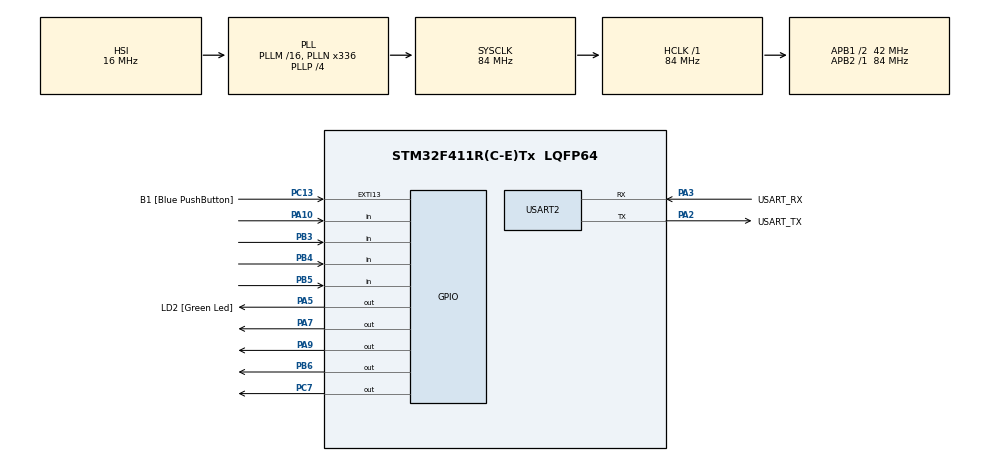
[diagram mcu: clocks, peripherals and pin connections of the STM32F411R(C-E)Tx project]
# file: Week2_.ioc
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Mcu.Family=STM32F4
Mcu.Name=STM32F411R(C-E)Tx
Mcu.Package=LQFP64
NVIC.PriorityGroup=NVIC_PRIORITYGROUP_0
PA10.GPIO_PuPd=GPIO_PULLUP
PA10.Signal=GPIO_Input
PA13.GPIO_Label=TMS
PA13.Mode=Serial_Wire
PA13.Signal=SYS_JTMS-SWDIO
PA14.GPIO_Label=TCK
PA14.Mode=Serial_Wire
PA14.Signal=SYS_JTCK-SWCLK
PA2.GPIO_Label=USART_TX
PA2.Mode=Asynchronous
PA2.Signal=USART2_TX
PA3.GPIO_Label=USART_RX
PA3.Mode=Asynchronous
PA3.Signal=USART2_RX
PA5.GPIO_Label=LD2 [Green Led]
PA5.Signal=GPIO_Output
PA7.GPIO_ModeDefaultOutputPP=GPIO_MODE_OUTPUT_OD
PA7.PinState=GPIO_PIN_SET
PA7.Signal=GPIO_Output
PA9.GPIO_ModeDefaultOutputPP=GPIO_MODE_OUTPUT_OD
PA9.PinState=GPIO_PIN_SET
PA9.Signal=GPIO_Output
PB3.GPIO_PuPd=GPIO_PULLUP
PB3.Signal=GPIO_Input
PB4.GPIO_PuPd=GPIO_PULLUP
PB4.Signal=GPIO_Input
PB5.GPIO_PuPd=GPIO_PULLUP
PB5.Signal=GPIO_Input
PB6.GPIO_ModeDefaultOutputPP=GPIO_MODE_OUTPUT_OD
PB6.PinState=GPIO_PIN_SET
PB6.Signal=GPIO_Output
PC13-ANTI_TAMP.GPIO_Label=B1 [Blue PushButton]
PC13-ANTI_TAMP.GPIO_ModeDefaultEXTI=GPIO_MODE_IT_FALLING
PC13-ANTI_TAMP.Signal=GPXTI13
PC14-OSC32_IN.Mode=LSE-External-Oscillator
PC14-OSC32_IN.Signal=RCC_OSC32_IN
PC15-OSC32_OUT.Mode=LSE-External-Oscillator
PC15-OSC32_OUT.Signal=RCC_OSC32_OUT
PC7.GPIO_ModeDefaultOutputPP=GPIO_MODE_OUTPUT_OD
PC7.PinState=GPIO_PIN_SET
PC7.Signal=GPIO_Output
PH0\ -\ OSC_IN.Mode=HSE-External-Clock-Source
PH0\ -\ OSC_IN.Signal=RCC_OSC_IN
PH1\ -\ OSC_OUT.Mode=HSE-External-Clock-Source
PH1\ -\ OSC_OUT.Signal=RCC_OSC_OUT
ProjectManager.HeapSize=0x200
ProjectManager.StackSize=0x400
ProjectManager.TargetToolchain=STM32CubeIDE
RCC.48MHZClocksFreq_Value=84000000
RCC.AHBFreq_Value=84000000
RCC.APB1CLKDivider=RCC_HCLK_DIV2
RCC.APB1Freq_Value=42000000
RCC.APB1TimFreq_Value=84000000
RCC.APB2Freq_Value=84000000
RCC.APB2TimFreq_Value=84000000
RCC.CortexFreq_Value=84000000
RCC.FLatency-AdvancedSettings=FLASH_LATENCY_2
RCC.HCLKFreq_Value=84000000
RCC.HSE_VALUE=8000000
RCC.HSI_VALUE=16000000
RCC.PLLN=336
RCC.PLLP=RCC_PLLP_DIV4
RCC.SYSCLKFreq_VALUE=84000000
RCC.SYSCLKSource=RCC_SYSCLKSOURCE_PLLCLK
RCC.VCOOutputFreq_Value=336000000
USART2.VirtualMode=VM_ASYNC
board=NUCLEO-F411RE

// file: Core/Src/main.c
/* USER CODE BEGIN Header */
/**
 ******************************************************************************
 * @file           : main.c
 * @brief          : Main program body
 ******************************************************************************
 * @attention
 *
 * <h2><center>&copy; Copyright (c) 2021 STMicroelectronics.
 * All rights reserved.</center></h2>
 *
 * This software component is licensed by ST under BSD 3-Clause license,
 * the "License"; You may not use this file except in compliance with the
 * License. You may obtain a copy of the License at:
 *                        opensource.org/licenses/BSD-3-Clause
 *
 ******************************************************************************
 */
/* USER CODE END Header */
#include "main.h"

UART_HandleTypeDef huart2;

/* USER CODE BEGIN PV */
//save state of Button Matrix
uint16_t ButtonMatrixState = 0;
//Button TimeStamp
uint32_t ButtonMatrixTimeStamp = 0;
//  Check Pressing
uint32_t PressButton[2] = { 0 };
//state LED
uint8_t LED = 0;
//
uint16_t StatePressButton = 0;
enum StatePressButton {
	StartPressing = 0,
	//////////////////
	PressButton0 = 4096,
	PressButton1 = 256,
	PressButton2 = 512,
	PressButton3 = 1024,
	PressButton4 = 16,
	PressButton5 = 32,
	PressButton6 = 64,
	PressButton7 = 1,
	PressButton8 = 2,
	PressButton9 = 4,
	PressButtonBS = 128,
	PressButtonClear = 8,
	PressButtonOK = 32768
};

/* USER CODE END PV */

void SystemClock_Config(void);
static void MX_GPIO_Init(void);
static void MX_USART2_UART_Init(void);
/* USER CODE BEGIN PFP */
// scan and update data of Button Matrix
void ButtonMatrixUpdate();
/* USER CODE END PFP */

int main(void) {

	/* MCU Configuration--------------------------------------------------------*/

	/* Reset of all peripherals, Initializes the Flash interface and the Systick. */
	HAL_Init();

	/* Configure the system clock */
	SystemClock_Config();

	/* Initialize all configured peripherals */
	MX_GPIO_Init();
	MX_USART2_UART_Init();

	/* Infinite loop */
	while (1) {

		/* USER CODE BEGIN 3 */
		ButtonMatrixUpdate();
		PressButton[0] = ButtonMatrixState;
		// Press == 0
		if (PressButton[0] != 0 && PressButton[1] == 0) {
			//
			switch (StatePressButton) {
			case 0:
				if (ButtonMatrixState == PressButton6) {
					StatePressButton += 1;
				} else if (ButtonMatrixState == PressButtonClear
						|| ButtonMatrixState == PressButtonOK
						|| ButtonMatrixState == PressButtonBS) {
					StatePressButton = 0;
				} else {
					StatePressButton = 0;
				}
				break;
			case 1:
				if (ButtonMatrixState == PressButton2) {
					StatePressButton += 1;
				} else if (ButtonMatrixState == PressButtonClear
						|| ButtonMatrixState == PressButtonOK) {
					StatePressButton = 0;
				} else if (ButtonMatrixState == PressButtonBS) {
					StatePressButton -= 1;
				}
				break;
			case 2:
				if (ButtonMatrixState == PressButton3) {
					StatePressButton += 1;
				} else if (ButtonMatrixState == PressButtonClear
						|| ButtonMatrixState == PressButtonOK) {
					StatePressButton = 0;
				} else if (ButtonMatrixState == PressButtonBS) {
					StatePressButton -= 1;
				}

				break;
			case 3:
				if (ButtonMatrixState == PressButton4) {
					StatePressButton += 1;
				} else if (ButtonMatrixState == PressButtonClear
						|| ButtonMatrixState == PressButtonOK) {
					StatePressButton = 0;
				} else if (ButtonMatrixState == PressButtonBS) {
					StatePressButton -= 1;
				}
				break;
			case 4:
				if (ButtonMatrixState == PressButton0) {
					StatePressButton += 1;
				} else if (ButtonMatrixState == PressButtonClear
						|| ButtonMatrixState == PressButtonOK) {
					StatePressButton = 0;
				} else if (ButtonMatrixState == PressButtonBS) {
					StatePressButton -= 1;
				}
				break;
			case 5:
				if (ButtonMatrixState == PressButton5) {
					StatePressButton += 1;
				} else if (ButtonMatrixState == PressButtonClear
						|| ButtonMatrixState == PressButtonOK) {
					StatePressButton = 0;
				} else if (ButtonMatrixState == PressButtonBS) {
					StatePressButton -= 1;
				}
				break;
			case 6:
				if (ButtonMatrixState == PressButton0) {
					StatePressButton += 1;
				} else if (ButtonMatrixState == PressButtonClear
						|| ButtonMatrixState == PressButtonOK) {
					StatePressButton = 0;
				} else if (ButtonMatrixState == PressButtonBS) {
					StatePressButton -= 1;
				}
				break;
			case 7:
				if (ButtonMatrixState == PressButton0) {
					StatePressButton += 1;
				} else if (ButtonMatrixState == PressButtonClear
						|| ButtonMatrixState == PressButtonOK) {
					StatePressButton = 0;
				} else if (ButtonMatrixState == PressButtonBS) {
					StatePressButton -= 1;
				}
				break;
			case 8:
				if (ButtonMatrixState == PressButton0) {
					StatePressButton += 1;
				} else if (ButtonMatrixState == PressButtonClear
						|| ButtonMatrixState == PressButtonOK) {
					StatePressButton = 0;
				} else if (ButtonMatrixState == PressButtonBS) {
					StatePressButton -= 1;
				}
				break;
			case 9:
				if (ButtonMatrixState == PressButton6) {
					StatePressButton += 1;
				} else if (ButtonMatrixState == PressButtonClear
						|| ButtonMatrixState == PressButtonOK) {
					StatePressButton = 0;
				} else if (ButtonMatrixState == PressButtonBS) {
					StatePressButton -= 1;
				}
				break;
			case 10:
				if (ButtonMatrixState == PressButton8) {
					StatePressButton += 1;
				} else if (ButtonMatrixState == PressButtonClear
						|| ButtonMatrixState == PressButtonOK) {
					StatePressButton = 0;
				} else if (ButtonMatrixState == PressButtonBS) {
					StatePressButton -= 1;
				}
				break;
			case 11:
				if (ButtonMatrixState == PressButtonClear) {
					StatePressButton = 0;
				} else if (ButtonMatrixState == PressButtonOK) {
					LED = 1;
					StatePressButton = 0;
				} else if (ButtonMatrixState == PressButtonBS) {
					StatePressButton -= 1;
				}
				break;
			}
		}
		PressButton[1] = PressButton[0];
		if (LED == 1) {
			HAL_GPIO_WritePin(GPIOA, GPIO_PIN_5, GPIO_PIN_SET);
		} else {
			HAL_GPIO_WritePin(GPIOA, GPIO_PIN_5, GPIO_PIN_RESET);
		}
	}
	/* USER CODE END 3 */
}

void SystemClock_Config(void) {
	RCC_OscInitTypeDef RCC_OscInitStruct = { 0 };
	RCC_ClkInitTypeDef RCC_ClkInitStruct = { 0 };

	/** Configure the main internal regulator output voltage
	 */
	__HAL_RCC_PWR_CLK_ENABLE();
	__HAL_PWR_VOLTAGESCALING_CONFIG(PWR_REGULATOR_VOLTAGE_SCALE1);
	/** Initializes the RCC Oscillators according to the specified parameters
	 * in the RCC_OscInitTypeDef structure.
	 */
	RCC_OscInitStruct.OscillatorType = RCC_OSCILLATORTYPE_HSI;
	RCC_OscInitStruct.HSIState = RCC_HSI_ON;
	RCC_OscInitStruct.HSICalibrationValue = RCC_HSICALIBRATION_DEFAULT;
	RCC_OscInitStruct.PLL.PLLState = RCC_PLL_ON;
	RCC_OscInitStruct.PLL.PLLSource = RCC_PLLSOURCE_HSI;
	RCC_OscInitStruct.PLL.PLLM = 16;
	RCC_OscInitStruct.PLL.PLLN = 336;
	RCC_OscInitStruct.PLL.PLLP = RCC_PLLP_DIV4;
	RCC_OscInitStruct.PLL.PLLQ = 4;
	if (HAL_RCC_OscConfig(&RCC_OscInitStruct) != HAL_OK) {
		Error_Handler();
	}
	/** Initializes the CPU, AHB and APB buses clocks
	 */
	RCC_ClkInitStruct.ClockType = RCC_CLOCKTYPE_HCLK | RCC_CLOCKTYPE_SYSCLK
			| RCC_CLOCKTYPE_PCLK1 | RCC_CLOCKTYPE_PCLK2;
	RCC_ClkInitStruct.SYSCLKSource = RCC_SYSCLKSOURCE_PLLCLK;
	RCC_ClkInitStruct.AHBCLKDivider = RCC_SYSCLK_DIV1;
	RCC_ClkInitStruct.APB1CLKDivider = RCC_HCLK_DIV2;
	RCC_ClkInitStruct.APB2CLKDivider = RCC_HCLK_DIV1;

	if (HAL_RCC_ClockConfig(&RCC_ClkInitStruct, FLASH_LATENCY_2) != HAL_OK) {
		Error_Handler();
	}
}

static void MX_USART2_UART_Init(void) {

	huart2.Instance = USART2;
	huart2.Init.BaudRate = 115200;
	huart2.Init.WordLength = UART_WORDLENGTH_8B;
	huart2.Init.StopBits = UART_STOPBITS_1;
	huart2.Init.Parity = UART_PARITY_NONE;
	huart2.Init.Mode = UART_MODE_TX_RX;
	huart2.Init.HwFlowCtl = UART_HWCONTROL_NONE;
	huart2.Init.OverSampling = UART_OVERSAMPLING_16;
	if (HAL_UART_Init(&huart2) != HAL_OK) {
		Error_Handler();
	}

}

static void MX_GPIO_Init(void) {
	GPIO_InitTypeDef GPIO_InitStruct = { 0 };

	/* GPIO Ports Clock Enable */
	__HAL_RCC_GPIOC_CLK_ENABLE();
	__HAL_RCC_GPIOH_CLK_ENABLE();
	__HAL_RCC_GPIOA_CLK_ENABLE();
	__HAL_RCC_GPIOB_CLK_ENABLE();

	/*Configure GPIO pin Output Level */
	HAL_GPIO_WritePin(LD2_GPIO_Port, LD2_Pin, GPIO_PIN_RESET);

	/*Configure GPIO pin Output Level */
	HAL_GPIO_WritePin(GPIOA, GPIO_PIN_7 | GPIO_PIN_9, GPIO_PIN_SET);

	/*Configure GPIO pin Output Level */
	HAL_GPIO_WritePin(GPIOC, GPIO_PIN_7, GPIO_PIN_SET);

	/*Configure GPIO pin Output Level */
	HAL_GPIO_WritePin(GPIOB, GPIO_PIN_6, GPIO_PIN_SET);

	/*Configure GPIO pin : B1_Pin */
	GPIO_InitStruct.Pin = B1_Pin;
	GPIO_InitStruct.Mode = GPIO_MODE_IT_FALLING;
	GPIO_InitStruct.Pull = GPIO_NOPULL;
	HAL_GPIO_Init(B1_GPIO_Port, &GPIO_InitStruct);

	/*Configure GPIO pin : LD2_Pin */
	GPIO_InitStruct.Pin = LD2_Pin;
	GPIO_InitStruct.Mode = GPIO_MODE_OUTPUT_PP;
	GPIO_InitStruct.Pull = GPIO_NOPULL;
	GPIO_InitStruct.Speed = GPIO_SPEED_FREQ_LOW;
	HAL_GPIO_Init(LD2_GPIO_Port, &GPIO_InitStruct);

	/*Configure GPIO pins : PA7 PA9 */
	GPIO_InitStruct.Pin = GPIO_PIN_7 | GPIO_PIN_9;
	GPIO_InitStruct.Mode = GPIO_MODE_OUTPUT_OD;
	GPIO_InitStruct.Pull = GPIO_NOPULL;
	GPIO_InitStruct.Speed = GPIO_SPEED_FREQ_LOW;
	HAL_GPIO_Init(GPIOA, &GPIO_InitStruct);

	/*Configure GPIO pin : PC7 */
	GPIO_InitStruct.Pin = GPIO_PIN_7;
	GPIO_InitStruct.Mode = GPIO_MODE_OUTPUT_OD;
	GPIO_InitStruct.Pull = GPIO_NOPULL;
	GPIO_InitStruct.Speed = GPIO_SPEED_FREQ_LOW;
	HAL_GPIO_Init(GPIOC, &GPIO_InitStruct);

	/*Configure GPIO pin : PA10 */
	GPIO_InitStruct.Pin = GPIO_PIN_10;
	GPIO_InitStruct.Mode = GPIO_MODE_INPUT;
	GPIO_InitStruct.Pull = GPIO_PULLUP;
	HAL_GPIO_Init(GPIOA, &GPIO_InitStruct);

	/*Configure GPIO pins : PB3 PB4 PB5 */
	GPIO_InitStruct.Pin = GPIO_PIN_3 | GPIO_PIN_4 | GPIO_PIN_5;
	GPIO_InitStruct.Mode = GPIO_MODE_INPUT;
	GPIO_InitStruct.Pull = GPIO_PULLUP;
	HAL_GPIO_Init(GPIOB, &GPIO_InitStruct);

	/*Configure GPIO pin : PB6 */
	GPIO_InitStruct.Pin = GPIO_PIN_6;
	GPIO_InitStruct.Mode = GPIO_MODE_OUTPUT_OD;
	GPIO_InitStruct.Pull = GPIO_NOPULL;
	GPIO_InitStruct.Speed = GPIO_SPEED_FREQ_LOW;
	HAL_GPIO_Init(GPIOB, &GPIO_InitStruct);

}

/* USER CODE BEGIN 4 */
//port/pin array , 0-3 input , 4-7 output
GPIO_TypeDef *ButtonMatrixPort[8] = { GPIOA, GPIOB, GPIOB, GPIOB, GPIOA, GPIOC,
GPIOB, GPIOA };

uint16_t ButtonMatrixPin[8] = { GPIO_PIN_10, GPIO_PIN_3, GPIO_PIN_5, GPIO_PIN_4,
GPIO_PIN_9, GPIO_PIN_7, GPIO_PIN_6, GPIO_PIN_7 };

uint8_t ButtonMatrixRow = 0; // What R Now

void ButtonMatrixUpdate() {
	if (HAL_GetTick() - ButtonMatrixTimeStamp >= 40) {
		ButtonMatrixTimeStamp = HAL_GetTick();
		int i = 0;
		for (i = 0; i < 4; i++) {
			// 0-3
			GPIO_PinState PinState = HAL_GPIO_ReadPin(ButtonMatrixPort[i],
					ButtonMatrixPin[i]);
			if (PinState == GPIO_PIN_RESET) // Button Press
					{
				ButtonMatrixState |= (uint16_t) 1 << (i + ButtonMatrixRow * 4); //0b0000000000000000 | 0b1000
			} else {
				ButtonMatrixState &=
						~((uint16_t) 1 << (i + ButtonMatrixRow * 4)); //0b0000000000000000 & ~(0b1000)
			}
		}
		uint8_t NowOutputPin = ButtonMatrixRow + 4;

		//SET Rn
		HAL_GPIO_WritePin(ButtonMatrixPort[NowOutputPin],
				ButtonMatrixPin[NowOutputPin], GPIO_PIN_SET);

		// update New Row
		ButtonMatrixRow = (ButtonMatrixRow + 1) % 4;

		//RESET Rn+1
		uint8_t NextOutputPin = ButtonMatrixRow + 4;
		HAL_GPIO_WritePin(ButtonMatrixPort[NextOutputPin],
				ButtonMatrixPin[NextOutputPin], GPIO_PIN_RESET);
	}

}
/* USER CODE END 4 */

void Error_Handler(void) {
	__disable_irq();
	while (1) {
	}
}

/************************ (C) COPYRIGHT STMicroelectronics *****END OF FILE****/
